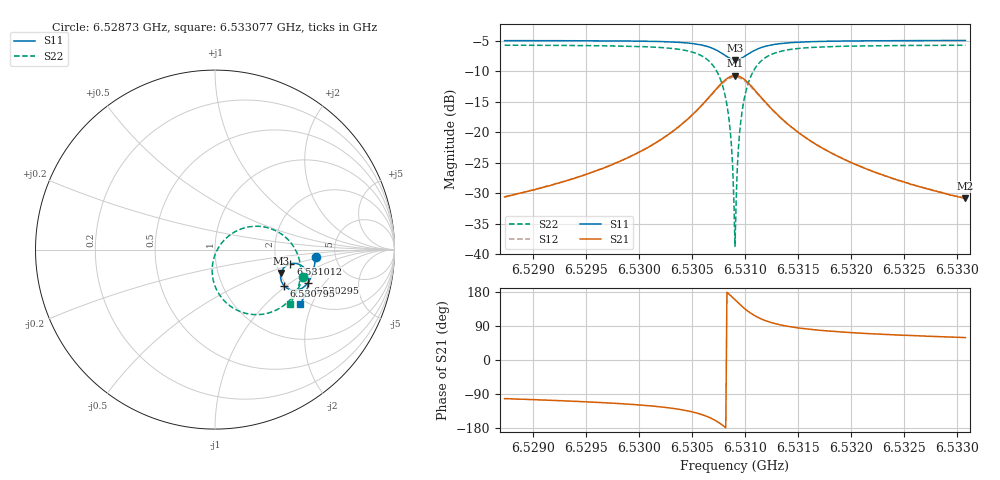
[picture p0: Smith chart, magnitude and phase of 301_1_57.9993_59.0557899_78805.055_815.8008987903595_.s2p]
#  HZ  S  RI  R  50.00
! Rohde & Schwarz Vector Network Analyzer
! Rohde-Schwarz,ZNB20-2Port,1311601062101988,3.16
! Created: UTC 3/21/2024, 1:03:47 AM
! freq[Hz]  re:S11  im:S11  re:S21  im:S21  re:S12  im:S12  re:S22  im:S22
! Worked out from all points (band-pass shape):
!   401 points, 6.52873 GHz to 6.533077 GHz, reference 50 ohm
!   highest |S21| = -10.72 dB at 6.530903 GHz (marker M1); lowest = -30.9 dB at 6.533077 GHz (marker M2)
!   |S21| within 3 dB of the highest: 6.530686 GHz to 6.531121 GHz (434.8 kHz wide, 0.00666 % of centre)
!   lowest |S11| = -8.2 dB at 6.530903 GHz (marker M3), VSWR 2.28, Z = 102 - j31.3 ohm
!   |S11| at or under -10 dB: nowhere
!   |S22| runs from -38.7 to -5.8 dB; largest |S21 - S12| = 0.011
!   S11 on the Smith chart (normalised r, x): 6.52873 GHz: 3.50, -0.45; 6.530295 GHz: 2.59, -1.39; 6.530795 GHz: 1.94, -0.96; 6.531012 GHz: 2.39, -0.46; 6.533077 GHz: 1.85, -1.65
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6.5287298e9  0.5601 -0.044  -0.00615 -0.0289  -0.00654 -0.0289  0.4927 -0.151
6.5294579e9  0.5509 -0.1041  -0.0149 -0.0413  -0.0159 -0.041  0.4638 -0.217
6.530186e9  0.5244 -0.1749  -0.0467 -0.071  -0.0486 -0.0698  0.3867 -0.3086
6.5302947e9  0.5156 -0.1877  -0.059 -0.0788  -0.0613 -0.0772  0.3606 -0.3263
6.5306316e9  0.4532 -0.226  -0.1547 -0.096  -0.1569 -0.09  0.1797 -0.3569
6.5307294e9  0.4139 -0.2214  -0.2156 -0.0725  -0.2152 -0.0637  0.0765 -0.3082
6.5307946e9  0.3847 -0.2011  -0.2588 -0.0278  -0.2545 -0.0182  0.00997 -0.2261
6.5308489e9  0.3679 -0.1696  -0.2803 0.033  -0.2724 0.0408  -0.0159 -0.1215
6.5308706e9  0.3655 -0.1542  -0.2811 0.0616  -0.272 0.0679  -0.0124 -0.0744
6.5308815e9  0.3655 -0.1462  -0.2794 0.0761  -0.2699 0.0817  -0.00728 -0.0509
6.5308924e9  0.3666 -0.1382  -0.2763 0.0906  -0.2664 0.0952  0.000351 -0.0277
6.5309032e9  0.3684 -0.1303  -0.2716 0.1049  -0.2616 0.1085  0.0103 -0.00537
6.5309141e9  0.3712 -0.1228  -0.2656 0.1183  -0.2557 0.1211  0.0223 0.0158
6.530925e9  0.3746 -0.1154  -0.2583 0.1313  -0.2484 0.1332  0.0363 0.0358
6.5309358e9  0.3788 -0.1086  -0.2498 0.1434  -0.2401 0.1443  0.0522 0.054
6.5309576e9  0.3891 -0.0967  -0.2302 0.164  -0.2211 0.1637  0.088 0.0847
6.5310119e9  0.4203 -0.0793  -0.1732 0.1952  -0.1668 0.1925  0.187 0.1263
6.531088e9  0.461 -0.0795  -0.1017 0.1978  -0.0983 0.195  0.3071 0.1178
6.5311966e9  0.4966 -0.1011  -0.0398 0.1691  -0.0384 0.1674  0.4076 0.0551
6.5316313e9  0.5212 -0.1795  0.0142 0.082  0.0151 0.0818  0.4777 -0.1288
6.5323594e9  0.5018 -0.252  0.0166 0.0393  0.0173 0.0391  0.4503 -0.2434
6.5330766e9  0.4743 -0.3048  0.0147 0.0246  0.0151 0.0244  0.4155 -0.3044
